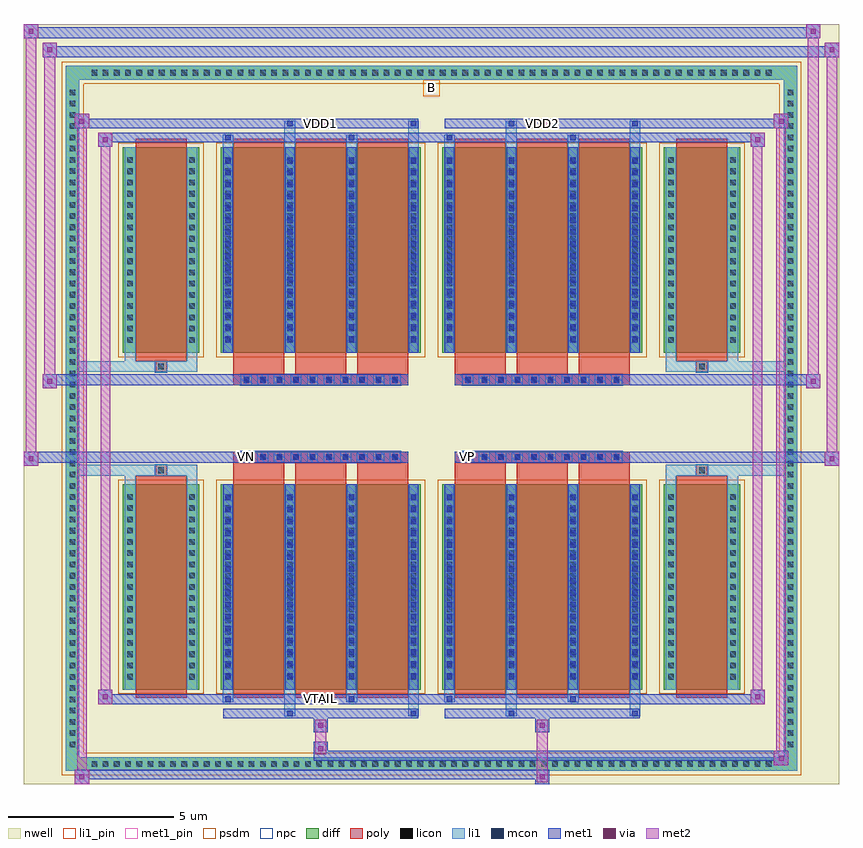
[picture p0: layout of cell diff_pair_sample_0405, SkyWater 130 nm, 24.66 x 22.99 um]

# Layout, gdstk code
import gdstk
lib = gdstk.Library(unit=1e-6, precision=5e-09)
def R(c, l, rs):  # rectangles x0, y0, x1, y1
    for r in rs: c.add(gdstk.rectangle(r[:2], r[2:], *l))
def A(c, l, x, y, w, h, nx, ny, dx, dy):  # array of equal rectangles
    R(c, l, [(x+i*dx, y+j*dy, x+i*dx+w, y+j*dy+h) for i in range(nx) for j in range(ny)])
def P(c, l, *ps):  # polygons
    for p in ps: c.add(gdstk.Polygon(p, *l))
nwell = (64, 20)
diff = (65, 20)
poly = (66, 20)
licon = (66, 44)
li1_pin = (67, 16)
li1 = (67, 20)
mcon = (67, 44)
met1_pin = (68, 16)
met1 = (68, 20)
via = (68, 44)
met2 = (69, 20)
psdm = (94, 20)
npc = (95, 20)

diff_pair_sample_0405 = lib.new_cell('diff_pair_sample_0405')
R(diff_pair_sample_0405, nwell, [(-12.33,-11.06,12.33,11.93), (-9.65,-9.25,-0.01,-0.805), (0.01,-9.25,9.65,-0.805), (-9.65,0.805,-0.01,9.25), (0.01,0.805,9.65,9.25)])
A(diff_pair_sample_0405, diff, -10.405, -10.66, 0.41, 0.41, 61, 2, 0.34, 20.91)
A(diff_pair_sample_0405, diff, -11.06, -10.065, 0.41, 0.41, 1, 59, 0, 0.34)
A(diff_pair_sample_0405, diff, 10.65, -10.065, 0.41, 0.41, 1, 59, 0, 0.34)
R(diff_pair_sample_0405, diff, [(-10.405,-10.66,10.405,-10.25), (-11.06,-10.065,-10.65,10.065), (10.65,-10.065,11.06,10.065), (-9.34,-8.205,-7.02,-1.985), (-6.38,-8.205,-0.32,-1.985), (0.32,-8.205,6.38,-1.985), (7.02,-8.205,9.34,-1.985), (-9.34,1.985,-7.02,8.205), (-6.38,1.985,-0.32,8.205), (0.32,1.985,6.38,8.205), (7.02,1.985,9.34,8.205), (-10.405,10.25,10.405,10.66)])
P(diff_pair_sample_0405, diff, [(11.06,10.66),(-11.06,10.66),(-11.06,-10.25),(-10.65,-10.25),(-10.65,10.25),(10.65,10.25),(10.65,-10.25),(-10.65,-10.25),(-11.06,-10.25),(-11.06,-10.66),(11.06,-10.66)])
A(diff_pair_sample_0405, poly, -5.99, -8.455, 1.54, 6.72, 3, 2, 1.87, 10.19)
A(diff_pair_sample_0405, poly, 0.71, -8.455, 1.54, 6.72, 3, 2, 1.87, 10.19)
A(diff_pair_sample_0405, poly, -5.99, -1.735, 1.54, 0.4, 3, 2, 1.87, 3.07)
A(diff_pair_sample_0405, poly, 0.71, -1.735, 1.54, 0.4, 3, 2, 1.87, 3.07)
A(diff_pair_sample_0405, poly, -5.765, -1.335, 0.33, 0.33, 10, 2, 0.5, 2.34)
A(diff_pair_sample_0405, poly, 0.935, -1.335, 0.33, 0.33, 10, 2, 0.5, 2.34)
R(diff_pair_sample_0405, poly, [(-8.95,-8.455,-7.41,-1.735), (7.41,-8.455,8.95,-1.735), (-8.345,-1.735,-8.015,-1.405), (-8.345,-1.735,-8.015,-1.405), (8.015,-1.735,8.345,-1.405), (8.015,-1.735,8.345,-1.405), (-5.99,-1.335,-0.71,-1.005), (0.71,-1.335,5.99,-1.005), (-5.99,1.005,-0.71,1.335), (0.71,1.005,5.99,1.335), (-8.345,1.405,-8.015,1.735), (-8.345,1.405,-8.015,1.735), (8.015,1.405,8.345,1.735), (8.015,1.405,8.345,1.735), (-8.95,1.735,-7.41,8.455), (7.41,1.735,8.95,8.455)])
A(diff_pair_sample_0405, licon, -10.285, -10.54, 0.17, 0.17, 61, 2, 0.34, 20.91)
A(diff_pair_sample_0405, licon, -10.94, -9.945, 0.17, 0.17, 1, 59, 0, 0.34)
A(diff_pair_sample_0405, licon, 10.77, -9.945, 0.17, 0.17, 1, 59, 0, 0.34)
A(diff_pair_sample_0405, licon, -9.2, -7.9, 0.17, 0.17, 1, 17, 0, 0.34)
A(diff_pair_sample_0405, licon, -7.33, -7.9, 0.17, 0.17, 1, 17, 0, 0.34)
A(diff_pair_sample_0405, licon, -6.24, -7.9, 0.17, 0.17, 4, 17, 1.87, 0.34)
A(diff_pair_sample_0405, licon, 0.46, -7.9, 0.17, 0.17, 4, 17, 1.87, 0.34)
A(diff_pair_sample_0405, licon, 7.16, -7.9, 0.17, 0.17, 1, 17, 0, 0.34)
A(diff_pair_sample_0405, licon, 9.03, -7.9, 0.17, 0.17, 1, 17, 0, 0.34)
A(diff_pair_sample_0405, licon, -5.685, -1.255, 0.17, 0.17, 10, 2, 0.5, 2.34)
A(diff_pair_sample_0405, licon, 1.015, -1.255, 0.17, 0.17, 10, 2, 0.5, 2.34)
A(diff_pair_sample_0405, licon, -9.2, 2.29, 0.17, 0.17, 1, 17, 0, 0.34)
A(diff_pair_sample_0405, licon, -7.33, 2.29, 0.17, 0.17, 1, 17, 0, 0.34)
A(diff_pair_sample_0405, licon, -6.24, 2.29, 0.17, 0.17, 4, 17, 1.87, 0.34)
A(diff_pair_sample_0405, licon, 0.46, 2.29, 0.17, 0.17, 4, 17, 1.87, 0.34)
A(diff_pair_sample_0405, licon, 7.16, 2.29, 0.17, 0.17, 1, 17, 0, 0.34)
A(diff_pair_sample_0405, licon, 9.03, 2.29, 0.17, 0.17, 1, 17, 0, 0.34)
R(diff_pair_sample_0405, licon, [(-8.265,-1.655,-8.095,-1.485), (8.095,-1.655,8.265,-1.485), (-8.265,1.485,-8.095,1.655), (8.095,1.485,8.265,1.655)])
R(diff_pair_sample_0405, li1_pin, [(-0.25,9.75,0.25,10.25)])
A(diff_pair_sample_0405, li1, -10.365, -10.62, 0.33, 0.33, 61, 2, 0.34, 20.91)
A(diff_pair_sample_0405, li1, -11.02, -10.025, 0.33, 0.33, 1, 59, 0, 0.34)
A(diff_pair_sample_0405, li1, 10.69, -10.025, 0.33, 0.33, 1, 59, 0, 0.34)
A(diff_pair_sample_0405, li1, -6.32, -8.205, 0.33, 6.22, 4, 2, 1.87, 10.19)
A(diff_pair_sample_0405, li1, 0.38, -8.205, 0.33, 6.22, 4, 2, 1.87, 10.19)
A(diff_pair_sample_0405, li1, -9.28, -7.98, 0.33, 0.33, 1, 17, 0, 0.34)
A(diff_pair_sample_0405, li1, -7.41, -7.98, 0.33, 0.33, 1, 17, 0, 0.34)
A(diff_pair_sample_0405, li1, -6.32, -7.98, 0.33, 0.33, 4, 17, 1.87, 0.34)
A(diff_pair_sample_0405, li1, 0.38, -7.98, 0.33, 0.33, 4, 17, 1.87, 0.34)
A(diff_pair_sample_0405, li1, 7.08, -7.98, 0.33, 0.33, 1, 17, 0, 0.34)
A(diff_pair_sample_0405, li1, 8.95, -7.98, 0.33, 0.33, 1, 17, 0, 0.34)
A(diff_pair_sample_0405, li1, -6.24, -7.88, 0.17, 0.17, 4, 16, 1.87, 0.36)
A(diff_pair_sample_0405, li1, -6.24, -7.88, 0.17, 5.57, 4, 2, 1.87, 10.19)
A(diff_pair_sample_0405, li1, 0.46, -7.88, 0.17, 0.17, 4, 16, 1.87, 0.36)
A(diff_pair_sample_0405, li1, 0.46, -7.88, 0.17, 5.57, 4, 2, 1.87, 10.19)
A(diff_pair_sample_0405, li1, -5.765, -1.335, 0.33, 0.33, 10, 2, 0.5, 2.34)
A(diff_pair_sample_0405, li1, 0.935, -1.335, 0.33, 0.33, 10, 2, 0.5, 2.34)
A(diff_pair_sample_0405, li1, -9.28, 2.21, 0.33, 0.33, 1, 17, 0, 0.34)
A(diff_pair_sample_0405, li1, -7.41, 2.21, 0.33, 0.33, 1, 17, 0, 0.34)
A(diff_pair_sample_0405, li1, -6.32, 2.21, 0.33, 0.33, 4, 17, 1.87, 0.34)
A(diff_pair_sample_0405, li1, 0.38, 2.21, 0.33, 0.33, 4, 17, 1.87, 0.34)
A(diff_pair_sample_0405, li1, 7.08, 2.21, 0.33, 0.33, 1, 17, 0, 0.34)
A(diff_pair_sample_0405, li1, 8.95, 2.21, 0.33, 0.33, 1, 17, 0, 0.34)
A(diff_pair_sample_0405, li1, -6.24, 2.31, 0.17, 0.17, 4, 16, 1.87, 0.36)
A(diff_pair_sample_0405, li1, 0.46, 2.31, 0.17, 0.17, 4, 16, 1.87, 0.36)
R(diff_pair_sample_0405, li1, [(-11.06,-10.66,-10.65,-10.25), (-11.06,-10.66,-10.65,-10.25), (-10.65,-10.66,10.65,-10.25), (10.65,-10.66,11.06,-10.25), (10.65,-10.66,11.06,-10.25), (-11.06,-10.25,-10.65,10.25), (10.65,-10.25,11.06,10.25), (-4.45,-9.01,-4.12,-8.205), (-4.37,-9.01,-4.2,-8.84), (-0.71,-9.01,-0.38,-8.205), (-0.63,-9.01,-0.46,-8.84), (2.25,-9.01,2.58,-8.205), (2.33,-9.01,2.5,-8.84), (5.99,-9.01,6.32,-8.205), (6.07,-9.01,6.24,-8.84), (-6.32,-8.58,-5.99,-8.205), (-6.24,-8.58,-6.07,-8.41), (-2.58,-8.58,-2.25,-8.205), (-2.5,-8.58,-2.33,-8.41), (0.38,-8.58,0.71,-8.205), (0.46,-8.58,0.63,-8.41), (4.12,-8.58,4.45,-8.205), (4.2,-8.58,4.37,-8.41), (-9.28,-8.205,-8.95,-1.985), (-7.41,-8.205,-7.08,-1.985), (7.08,-8.205,7.41,-1.985), (8.95,-8.205,9.28,-1.985), (-9.28,-1.985,-8.95,-1.405), (-7.41,-1.985,-7.08,-1.405), (7.08,-1.985,7.41,-1.405), (8.95,-1.985,9.28,-1.405), (-11.06,-1.735,-8.345,-1.405), (-9.28,-1.735,-8.345,-1.405), (-8.345,-1.735,-8.015,-1.405), (-8.015,-1.735,-7.08,-1.405), (7.08,-1.735,8.015,-1.405), (8.015,-1.735,8.345,-1.405), (8.015,-1.735,11.06,-1.405), (8.345,-1.735,9.28,-1.405), (-11.06,1.405,-8.345,1.735), (-9.28,1.405,-8.345,1.735), (-9.28,1.405,-8.95,1.985), (-8.345,1.405,-8.015,1.735), (-8.015,1.405,-7.08,1.735), (-7.41,1.405,-7.08,1.985), (7.08,1.405,8.015,1.735), (7.08,1.405,7.41,1.985), (8.015,1.405,8.345,1.735), (8.015,1.405,11.06,1.735), (8.345,1.405,9.28,1.735), (8.95,1.405,9.28,1.985), (-9.28,1.985,-8.95,8.205), (-7.41,1.985,-7.08,8.205), (7.08,1.985,7.41,8.205), (8.95,1.985,9.28,8.205), (-6.32,8.205,-5.99,8.58), (-4.45,8.205,-4.12,9.01), (-2.58,8.205,-2.25,8.58), (-0.71,8.205,-0.38,9.01), (0.38,8.205,0.71,8.58), (2.25,8.205,2.58,9.01), (4.12,8.205,4.45,8.58), (5.99,8.205,6.32,9.01), (-6.24,8.41,-6.07,8.58), (-2.5,8.41,-2.33,8.58), (0.46,8.41,0.63,8.58), (4.2,8.41,4.37,8.58), (-4.37,8.84,-4.2,9.01), (-0.63,8.84,-0.46,9.01), (2.33,8.84,2.5,9.01), (6.07,8.84,6.24,9.01), (-11.06,10.25,-10.65,10.66), (-11.06,10.25,-10.65,10.66), (-10.65,10.25,10.65,10.66), (10.65,10.25,11.06,10.66), (10.65,10.25,11.06,10.66)])
A(diff_pair_sample_0405, mcon, -6.24, -7.88, 0.17, 0.17, 4, 16, 1.87, 0.36)
A(diff_pair_sample_0405, mcon, 0.46, -7.88, 0.17, 0.17, 4, 16, 1.87, 0.36)
A(diff_pair_sample_0405, mcon, -5.685, -1.255, 0.17, 0.17, 10, 2, 0.5, 2.34)
A(diff_pair_sample_0405, mcon, 1.015, -1.255, 0.17, 0.17, 10, 2, 0.5, 2.34)
A(diff_pair_sample_0405, mcon, -6.24, 2.31, 0.17, 0.17, 4, 16, 1.87, 0.36)
A(diff_pair_sample_0405, mcon, 0.46, 2.31, 0.17, 0.17, 4, 16, 1.87, 0.36)
R(diff_pair_sample_0405, mcon, [(-4.37,-9.01,-4.2,-8.84), (-0.63,-9.01,-0.46,-8.84), (2.33,-9.01,2.5,-8.84), (6.07,-9.01,6.24,-8.84), (-6.24,-8.58,-6.07,-8.41), (-2.5,-8.58,-2.33,-8.41), (0.46,-8.58,0.63,-8.41), (4.2,-8.58,4.37,-8.41), (-6.24,8.41,-6.07,8.58), (-2.5,8.41,-2.33,8.58), (0.46,8.41,0.63,8.58), (4.2,8.41,4.37,8.58), (-4.37,8.84,-4.2,9.01), (-0.63,8.84,-0.46,9.01), (2.33,8.84,2.5,9.01), (6.07,8.84,6.24,9.01)])
R(diff_pair_sample_0405, met1_pin, [(-3.485,-8.62,-3.215,-8.35), (-5.735,-1.295,-5.465,-1.025), (0.965,-1.295,1.235,-1.025), (-3.485,8.8,-3.215,9.07), (3.215,8.8,3.485,9.07)])
A(diff_pair_sample_0405, met1, -6.3, -8.205, 0.29, 6.22, 4, 2, 1.87, 10.19)
A(diff_pair_sample_0405, met1, 0.4, -8.205, 0.29, 6.22, 4, 2, 1.87, 10.19)
A(diff_pair_sample_0405, met1, -6.3, -7.94, 0.29, 0.29, 4, 16, 1.87, 0.36)
A(diff_pair_sample_0405, met1, 0.4, -7.94, 0.29, 0.29, 4, 16, 1.87, 0.36)
A(diff_pair_sample_0405, met1, -5.745, -1.315, 0.29, 0.29, 10, 2, 0.5, 2.34)
A(diff_pair_sample_0405, met1, 0.955, -1.315, 0.29, 0.29, 10, 2, 0.5, 2.34)
A(diff_pair_sample_0405, met1, -6.3, 2.25, 0.29, 0.29, 4, 16, 1.87, 0.36)
A(diff_pair_sample_0405, met1, 0.4, 2.25, 0.29, 0.29, 4, 16, 1.87, 0.36)
R(diff_pair_sample_0405, met1, [(-10.79,-11.06,-10.36,-10.63), (3.135,-11.06,3.565,-10.63), (-10.79,-10.92,3.565,-10.63), (10.36,-10.49,10.79,-10.06), (-3.565,-10.35,10.79,-10.06), (-3.565,-10.21,-3.135,-9.78), (-3.565,-9.5,-3.135,-9.07), (3.135,-9.5,3.565,-9.07), (-6.3,-9.07,-0.4,-8.78), (-4.43,-9.07,-4.14,-8.78), (-0.69,-9.07,-0.4,-8.78), (0.4,-9.07,6.3,-8.78), (2.27,-9.07,2.56,-8.78), (6.01,-9.07,6.3,-8.78), (-10.08,-8.64,-9.65,-8.21), (-10.08,-8.64,-6.3,-8.35), (-6.3,-8.64,-6.01,-8.35), (-6.3,-8.64,-0.4,-8.35), (-2.56,-8.64,-2.27,-8.35), (-0.4,-8.64,0.4,-8.35), (0.4,-8.64,0.69,-8.35), (0.4,-8.64,6.3,-8.35), (4.14,-8.64,4.43,-8.35), (6.3,-8.64,10.08,-8.35), (9.65,-8.64,10.08,-8.21), (-12.33,-1.435,-11.9,-1.005), (11.9,-1.435,12.33,-1.005), (-12.33,-1.335,-0.71,-1.005), (-5.99,-1.335,-0.71,-1.005), (0.71,-1.335,5.99,-1.005), (0.71,-1.335,12.33,-1.005), (-11.76,0.905,-11.33,1.335), (11.33,0.905,11.76,1.335), (-11.76,1.005,-5.99,1.335), (-5.99,1.005,-0.71,1.335), (0.71,1.005,5.99,1.335), (5.99,1.005,11.76,1.335), (-10.08,8.21,-9.65,8.64), (9.65,8.21,10.08,8.64), (-10.08,8.35,-6.3,8.64), (-6.3,8.35,-6.01,8.64), (-6.3,8.35,-0.4,8.64), (-2.56,8.35,-2.27,8.64), (-0.4,8.35,0.4,8.64), (0.4,8.35,0.69,8.64), (0.4,8.35,6.3,8.64), (4.14,8.35,4.43,8.64), (6.3,8.35,10.08,8.64), (-10.79,8.78,-10.36,9.21), (-10.79,8.78,-6.3,9.07), (-6.3,8.78,-0.4,9.07), (-4.43,8.78,-4.14,9.07), (-0.69,8.78,-0.4,9.07), (0.4,8.78,6.3,9.07), (2.27,8.78,2.56,9.07), (6.01,8.78,6.3,9.07), (6.3,8.78,10.79,9.07), (10.36,8.78,10.79,9.21), (-11.76,10.93,-11.33,11.36), (-11.76,10.93,-9.65,11.26), (-9.65,10.93,9.65,11.26), (9.65,10.93,12.33,11.26), (11.9,10.93,12.33,11.36), (-12.33,11.5,-11.9,11.93), (-12.33,11.5,-9.65,11.83), (-9.65,11.5,9.65,11.83), (9.65,11.5,11.76,11.83), (11.33,11.5,11.76,11.93)])
R(diff_pair_sample_0405, via, [(-10.65,-10.92,-10.5,-10.77), (3.275,-10.92,3.425,-10.77), (10.5,-10.35,10.65,-10.2), (-3.425,-10.07,-3.275,-9.92), (-3.425,-9.36,-3.275,-9.21), (3.275,-9.36,3.425,-9.21), (-9.94,-8.5,-9.79,-8.35), (9.79,-8.5,9.94,-8.35), (-12.19,-1.295,-12.04,-1.145), (12.04,-1.295,12.19,-1.145), (-11.62,1.045,-11.47,1.195), (11.47,1.045,11.62,1.195), (-9.94,8.35,-9.79,8.5), (9.79,8.35,9.94,8.5), (-10.65,8.92,-10.5,9.07), (10.5,8.92,10.65,9.07), (-11.62,11.07,-11.47,11.22), (12.04,11.07,12.19,11.22), (-12.19,11.64,-12.04,11.79), (11.47,11.64,11.62,11.79)])
R(diff_pair_sample_0405, met2, [(-10.79,-11.06,-10.36,-10.63), (-10.72,-11.06,-10.43,9.21), (-10.43,-11.06,-10.36,-10.63), (-10.74,-11.01,-10.41,-10.68), (3.185,-11.01,3.515,-10.68), (3.185,-10.68,3.515,-9.45), (10.36,-10.49,10.79,-10.06), (10.43,-10.49,10.72,9.21), (10.72,-10.49,10.79,-10.06), (10.41,-10.44,10.74,-10.11), (-3.515,-10.16,-3.185,-9.83), (-3.515,-9.83,-3.185,-9.45), (-3.515,-9.45,-3.185,-9.12), (3.185,-9.45,3.515,-9.12), (-10.08,-8.64,-9.65,-8.21), (-10.01,-8.64,-9.72,8.64), (-9.72,-8.64,-9.65,-8.21), (9.65,-8.64,10.08,-8.21), (9.72,-8.64,10.01,8.64), (10.01,-8.64,10.08,-8.21), (-10.03,-8.59,-9.7,-8.26), (9.7,-8.59,10.03,-8.26), (-12.33,-1.435,-11.9,-1.005), (-12.28,-1.435,-11.95,11.93), (-11.95,-1.435,-11.9,-1.005), (11.9,-1.435,12.33,-1.005), (11.95,-1.435,12.28,11.36), (12.28,-1.435,12.33,-1.005), (-12.28,-1.385,-11.95,-1.055), (11.95,-1.385,12.28,-1.055), (-11.76,0.905,-11.33,1.335), (-11.71,0.905,-11.38,11.36), (-11.38,0.905,-11.33,1.335), (11.33,0.905,11.76,1.335), (11.38,0.905,11.71,11.93), (11.71,0.905,11.76,1.335), (-11.71,0.955,-11.38,1.285), (11.38,0.955,11.71,1.285), (-10.08,8.21,-9.65,8.64), (-9.72,8.21,-9.65,8.64), (9.65,8.21,10.08,8.64), (10.01,8.21,10.08,8.64), (-10.03,8.26,-9.7,8.59), (9.7,8.26,10.03,8.59), (-10.79,8.78,-10.36,9.21), (-10.43,8.78,-10.36,9.21), (10.36,8.78,10.79,9.21), (10.72,8.78,10.79,9.21), (-10.74,8.83,-10.41,9.16), (10.41,8.83,10.74,9.16), (-11.76,10.93,-11.33,11.36), (-11.38,10.93,-11.33,11.36), (11.9,10.93,12.33,11.36), (12.28,10.93,12.33,11.36), (-11.71,10.98,-11.38,11.31), (11.95,10.98,12.28,11.31), (-12.33,11.5,-11.9,11.93), (-11.95,11.5,-11.9,11.93), (11.33,11.5,11.76,11.93), (11.71,11.5,11.76,11.93), (-12.28,11.55,-11.95,11.88), (11.38,11.55,11.71,11.88)])
R(diff_pair_sample_0405, psdm, [(-9.47,-8.335,-6.89,-1.855), (-6.51,-8.335,-0.19,-1.855), (0.19,-8.335,6.51,-1.855), (6.89,-8.335,9.47,-1.855), (-9.47,1.855,-6.89,8.335), (-6.51,1.855,-0.19,8.335), (0.19,1.855,6.51,8.335), (6.89,1.855,9.47,8.335)])
P(diff_pair_sample_0405, psdm, [(11.19,10.79),(-11.19,10.79),(-11.19,-10.12),(-10.52,-10.12),(-10.52,10.12),(10.52,10.12),(10.52,-10.12),(-10.52,-10.12),(-11.19,-10.12),(-11.19,-10.79),(11.19,-10.79)])
A(diff_pair_sample_0405, npc, -5.785, -1.355, 0.37, 0.37, 10, 2, 0.5, 2.34)
A(diff_pair_sample_0405, npc, 0.915, -1.355, 0.37, 0.37, 10, 2, 0.5, 2.34)
R(diff_pair_sample_0405, npc, [(-8.365,-1.755,-7.995,-1.385), (7.995,-1.755,8.365,-1.385), (-5.785,-1.355,-4.915,-0.985), (-5.785,-1.355,-4.915,-0.985), (-5.285,-1.355,-4.415,-0.985), (-5.285,-1.355,-4.415,-0.985), (-4.785,-1.355,-3.915,-0.985), (-4.785,-1.355,-3.915,-0.985), (-4.285,-1.355,-3.415,-0.985), (-4.285,-1.355,-3.415,-0.985), (-3.785,-1.355,-2.915,-0.985), (-3.785,-1.355,-2.915,-0.985), (-3.285,-1.355,-2.415,-0.985), (-3.285,-1.355,-2.415,-0.985), (-2.785,-1.355,-1.915,-0.985), (-2.785,-1.355,-1.915,-0.985), (-2.285,-1.355,-1.415,-0.985), (-2.285,-1.355,-1.415,-0.985), (-1.785,-1.355,-0.915,-0.985), (-1.785,-1.355,-0.915,-0.985), (0.915,-1.355,1.785,-0.985), (0.915,-1.355,1.785,-0.985), (1.415,-1.355,2.285,-0.985), (1.415,-1.355,2.285,-0.985), (1.915,-1.355,2.785,-0.985), (1.915,-1.355,2.785,-0.985), (2.415,-1.355,3.285,-0.985), (2.415,-1.355,3.285,-0.985), (2.915,-1.355,3.785,-0.985), (2.915,-1.355,3.785,-0.985), (3.415,-1.355,4.285,-0.985), (3.415,-1.355,4.285,-0.985), (3.915,-1.355,4.785,-0.985), (3.915,-1.355,4.785,-0.985), (4.415,-1.355,5.285,-0.985), (4.415,-1.355,5.285,-0.985), (4.915,-1.355,5.785,-0.985), (4.915,-1.355,5.785,-0.985), (-5.785,0.985,-4.915,1.355), (-5.785,0.985,-4.915,1.355), (-5.285,0.985,-4.415,1.355), (-5.285,0.985,-4.415,1.355), (-4.785,0.985,-3.915,1.355), (-4.785,0.985,-3.915,1.355), (-4.285,0.985,-3.415,1.355), (-4.285,0.985,-3.415,1.355), (-3.785,0.985,-2.915,1.355), (-3.785,0.985,-2.915,1.355), (-3.285,0.985,-2.415,1.355), (-3.285,0.985,-2.415,1.355), (-2.785,0.985,-1.915,1.355), (-2.785,0.985,-1.915,1.355), (-2.285,0.985,-1.415,1.355), (-2.285,0.985,-1.415,1.355), (-1.785,0.985,-0.915,1.355), (-1.785,0.985,-0.915,1.355), (0.915,0.985,1.785,1.355), (0.915,0.985,1.785,1.355), (1.415,0.985,2.285,1.355), (1.415,0.985,2.285,1.355), (1.915,0.985,2.785,1.355), (1.915,0.985,2.785,1.355), (2.415,0.985,3.285,1.355), (2.415,0.985,3.285,1.355), (2.915,0.985,3.785,1.355), (2.915,0.985,3.785,1.355), (3.415,0.985,4.285,1.355), (3.415,0.985,4.285,1.355), (3.915,0.985,4.785,1.355), (3.915,0.985,4.785,1.355), (4.415,0.985,5.285,1.355), (4.415,0.985,5.285,1.355), (4.915,0.985,5.785,1.355), (4.915,0.985,5.785,1.355), (-8.365,1.385,-7.995,1.755), (7.995,1.385,8.365,1.755)])
diff_pair_sample_0405.add(gdstk.Label('VTAIL', (-3.35,-8.485), layer=68, texttype=5))
diff_pair_sample_0405.add(gdstk.Label('VN', (-5.6,-1.16), layer=68, texttype=5))
diff_pair_sample_0405.add(gdstk.Label('VP', (1.1,-1.16), layer=68, texttype=5))
diff_pair_sample_0405.add(gdstk.Label('B', (0,10), layer=67, texttype=5))
diff_pair_sample_0405.add(gdstk.Label('VDD2', (3.35,8.935), layer=68, texttype=5))
diff_pair_sample_0405.add(gdstk.Label('VDD1', (-3.35,8.935), layer=68, texttype=5))

lib.write_gds('diff_pair_sample_0405.gds')
